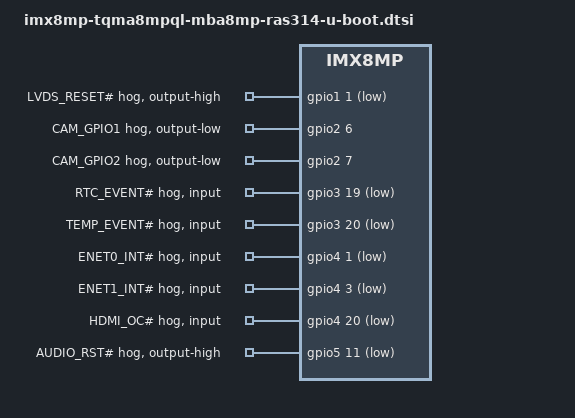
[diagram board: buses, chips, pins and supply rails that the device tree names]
// SPDX-License-Identifier: GPL-2.0-or-later OR MIT
/*
 * Copyright (c) 2021-2026 TQ-Systems GmbH <u-boot@ew.tq-group.com>,
 * D-82229 Seefeld, Germany.
 * Author: Markus Niebel, Nora Schiffer
 */

/* SOM shared settings for U-Boot */
#include "imx8mp-tqma8mpql-u-boot.dtsi"

/ {
	config {
		/* 64 kiB redundant env */
		u-boot,mmc-env-offset = <0x400000>;
		u-boot,mmc-env-offset-redundant = <0x410000>;
	};
};

&gpio1 {
	lvds-resetn-hog {
		gpio-hog;
		gpios = <1 GPIO_ACTIVE_LOW>;
		output-high;
		line-name = "LVDS_RESET#";
	};
};

&gpio2 {
	cam-gpio1-hog {
		gpio-hog;
		gpios = <6 GPIO_ACTIVE_HIGH>;
		output-low;
		line-name = "CAM_GPIO1";
	};

	cam-gpio2-hog {
		gpio-hog;
		gpios = <7 GPIO_ACTIVE_HIGH>;
		output-low;
		line-name = "CAM_GPIO2";
	};
};

&gpio3 {
	rtc-eventn-hog {
		gpio-hog;
		gpios = <19 GPIO_ACTIVE_LOW>;
		input;
		line-name = "RTC_EVENT#";
	};

	temp-eventn-hog {
		gpio-hog;
		gpios = <20 GPIO_ACTIVE_LOW>;
		input;
		line-name = "TEMP_EVENT#";
	};
};

&gpio4 {
	enet0-intn-hog {
		gpio-hog;
		gpios = <1 GPIO_ACTIVE_LOW>;
		input;
		line-name = "ENET0_INT#";
	};

	enet1-intn-hog {
		gpio-hog;
		gpios = <3 GPIO_ACTIVE_LOW>;
		input;
		line-name = "ENET1_INT#";
	};

	hdmi-ocn-hog {
		gpio-hog;
		gpios = <20 GPIO_ACTIVE_LOW>;
		input;
		line-name = "HDMI_OC#";
	};
};

&gpio5 {
	audio_rstn-hog {
		gpio-hog;
		gpios = <11 GPIO_ACTIVE_LOW>;
		output-high;
		line-name = "AUDIO_RST#";
	};
};

&pcie {
	status = "disabled";
};

&pcie_phy {
	status = "disabled";
};

&pinctrl_gpio1 {
	bootph-pre-ram;
};

&pinctrl_gpio5 {
	bootph-pre-ram;
};

&pinctrl_gpt1_gpio {
	bootph-pre-ram;
};

&pinctrl_gpt2_gpio {
	bootph-pre-ram;
};

&pinctrl_gpt3_gpio {
	bootph-pre-ram;
};

&pinctrl_uart4 {
	bootph-pre-ram;
};

&uart4 {
	bootph-pre-ram;
};

&usdhc2 {
	sd-uhs-sdr104;
	sd-uhs-ddr50;
	assigned-clocks = <&clk IMX8MP_CLK_USDHC2>;
	assigned-clock-rates = <400000000>;
};

&wdog1 {
	u-boot,noautostart;
	timeout-sec = <60>;
};
